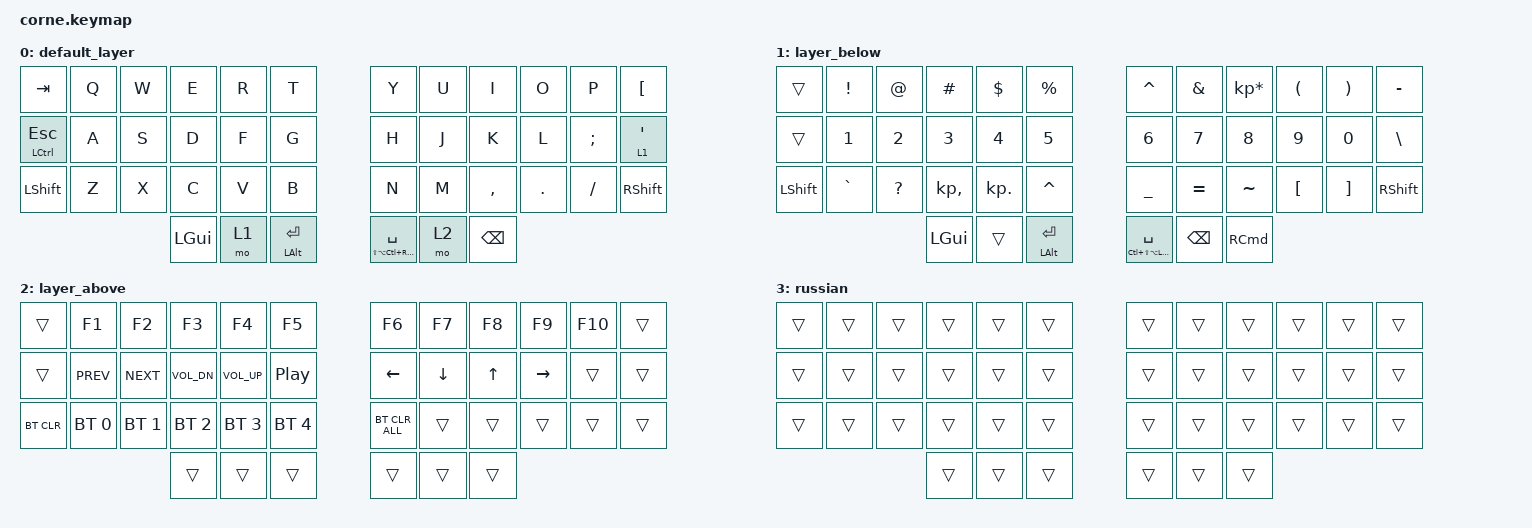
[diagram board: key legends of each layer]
/*
 * Copyright (c) 2020 The ZMK Contributors
 *
 * SPDX-License-Identifier: MIT
 */

#include <behaviors.dtsi>
#include <dt-bindings/zmk/bt.h>
#include <dt-bindings/zmk/keys.h>

/ {
    behaviors {
        tp: tap_preferred {
            compatible = "zmk,behavior-hold-tap";
            label = "TAP_PREFERRED";
            #binding-cells = <2>;
            tapping-term-ms = <150>;
            quick-tap-ms = <0>;
            flavor = "tap-preferred";
            bindings = <&kp>, <&kp>;
        };
    };

    keymap {
        compatible = "zmk,keymap";

        default_layer {
            // -----------------------------------------------------------------------------------------
            // | TAB  |  Q  |  W  |  E  |  R  |    T    |   |  Y  |  U   |  I  |  O  |  P  | ESC |
            // | CTRL |  A  |  S  |  D  |  F  |    G    |   |  H  |  J   |  K  |  L  |  ;  |  LWR/'   |
            // | SHFT |  Z  |  X  |  C  |  V  |    B    |   |  N  |  M   |  ,  |  .  |  /  | SHFT |
            //                    | GUI | LWR | ALT/ENT |   | HYPER/SPC | BKSP  | RSE |

            bindings = <
&kp TAB           &kp Q  &kp W  &kp E     &kp R  &kp T                 &kp Y                            &kp U  &kp I          &kp O    &kp P     &kp LEFT_BRACKET
&tp LCTRL ESCAPE  &kp A  &kp S  &kp D     &kp F  &kp G                 &kp H                            &kp J  &kp K          &kp L    &kp SEMI  &lt 1 SQT
&kp LSHFT         &kp Z  &kp X  &kp C     &kp V  &kp B                 &kp N                            &kp M  &kp COMMA      &kp DOT  &kp FSLH  &kp RSHFT
                                &kp LGUI  &mo 1  &tp LEFT_ALT ENTER    &tp LS(LA(LC(RIGHT_GUI))) SPACE  &mo 2  &kp BACKSPACE
            >;
        };

        layer_below {
            // -----------------------------------------------------------------------------------------
            // |      |  !  |  @  |  #  |  $  |    %     |   |  ^  |  &  |  *  |  (  |  )  |   \   |
            // |      |  1  |  2  |  3  |  4  |    5     |   |  -  |  =  |  `  |  [  |  ]  |  "|"  |
            // | SHFT |  6  |  7  |  8  |  9  |    0     |   |  _  |  +  |  ~  |  {  |  }  | RSHFT |
            //                     | GUI |     | ALT/ENT |   | HYPER/SPACE | BKSP |    |

            bindings = <
&trans     &kp EXCL   &kp AT        &kp HASH      &kp DLLR    &kp PRCNT       &kp CARET                   &kp AMPS      &kp KP_MULTIPLY  &kp LPAR          &kp RPAR           &kp MINUS
&trans     &kp N1     &kp N2        &kp N3        &kp N4      &kp N5          &kp NUMBER_6                &kp NUMBER_7  &kp NUMBER_8     &kp NUMBER_9      &kp NUMBER_0       &kp BACKSLASH
&kp LSHFT  &kp GRAVE  &kp QUESTION  &kp KP_COMMA  &kp KP_DOT  &kp CARET       &kp UNDER                   &kp EQUAL     &kp TILDE        &kp LEFT_BRACKET  &kp RIGHT_BRACKET  &kp RSHFT
                                    &kp LGUI      &trans      &tp LALT RET    &tp LC(LS(LA(LGUI))) SPACE  &kp BSPC      &kp RCMD
            >;
        };

        layer_above {
            // -----------------------------------------------------------------------------------------
            // |       |  F1  |  F2  |  F3  |  F4  |  F5 |            |  F6  |  F7  |  F8  |  F9  |  F10  |   |
            // |       | Prev | Next | Vol - | Vol + | Play/Pause |   |      | LFT | DWN |  UP | RGT |     |     |
            // | BTCLR | BT1 | BT2 | BT3 | BT4 | BT5 |   |            |     |     |     |     |     |     |
            //                    |     |     |    |                  |     |     |     |

            bindings = <
&trans      &kp F1        &kp F2        &kp F3        &kp F4        &kp F5          &kp F6          &kp F7    &kp F8  &kp F9     &kp F10  &trans
&trans      &kp C_PREV    &kp C_NEXT    &kp C_VOL_DN  &kp C_VOL_UP  &kp C_PP        &kp LEFT        &kp DOWN  &kp UP  &kp RIGHT  &trans   &trans
&bt BT_CLR  &bt BT_SEL 0  &bt BT_SEL 1  &bt BT_SEL 2  &bt BT_SEL 3  &bt BT_SEL 4    &bt BT_CLR_ALL  &trans    &trans  &trans     &trans   &trans
                                        &trans        &trans        &trans          &trans          &trans    &trans
            >;
        };

        russian {
            bindings = <
&trans  &trans  &trans  &trans  &trans  &trans    &trans  &trans  &trans  &trans  &trans  &trans
&trans  &trans  &trans  &trans  &trans  &trans    &trans  &trans  &trans  &trans  &trans  &trans
&trans  &trans  &trans  &trans  &trans  &trans    &trans  &trans  &trans  &trans  &trans  &trans
                        &trans  &trans  &trans    &trans  &trans  &trans
            >;
        };
    };
};
